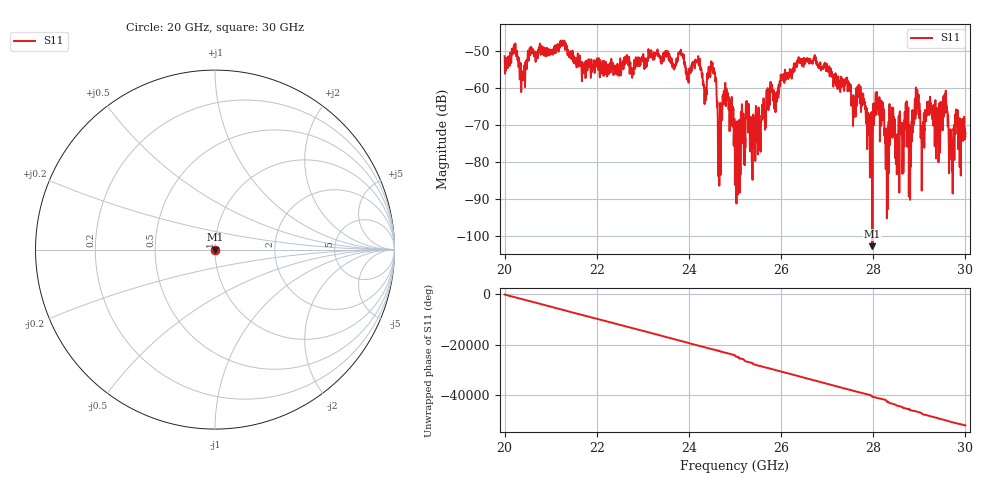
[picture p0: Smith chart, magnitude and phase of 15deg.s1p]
#  HZ  S  RI  R  50.00
! Rohde & Schwarz ZVA40 4Ports - Version 3.90 - 1145.1110k42 SN: 100403
! Date: 2023-10-03 10:26:01
! Measurement: S12
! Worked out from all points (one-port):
!   5001 points, 20 GHz to 30 GHz, reference 50 ohm
!   lowest |S11| = -102.6 dB at 27.98 GHz (marker M1), VSWR 1.00, Z = 50 + j9.67e-05 ohm
!   |S11| at or under -10 dB: start of sweep to end of sweep
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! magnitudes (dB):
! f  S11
! 20 GHz  -51.4
! 20.23 GHz  -49.2
! 20.4 GHz  -57.9
! 21.25 GHz  -48.5
! 22.5 GHz  -55.1
! 23.75 GHz  -52.2
! 24.19 GHz  -52.9
! 24.34 GHz  -61.7
! 24.52 GHz  -55.6
! 24.65 GHz  -71.6
! 24.8 GHz  -64.8
! 25 GHz  -82.8
! 25.51 GHz  -66.8
! 25.75 GHz  -62.5
! 26.25 GHz  -55.0
! 26.72 GHz  -51.6
! 27.5 GHz  -60.9
! 27.98 GHz  -102.6
! 28.09 GHz  -64.8
! 28.29 GHz  -81.8
! 28.75 GHz  -67.0
! 28.82 GHz  -77.8
! 28.94 GHz  -65.1
! 29.07 GHz  -75.5
! 29.56 GHz  -66.0
! 29.68 GHz  -71.7
! 29.79 GHz  -69.9
! 30 GHz  -73.1
